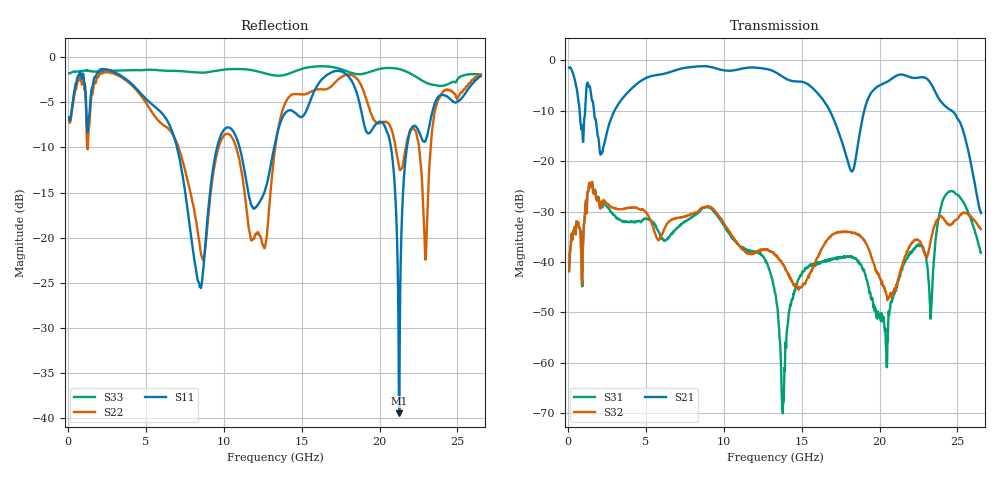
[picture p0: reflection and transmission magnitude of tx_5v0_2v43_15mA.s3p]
!Agilent Technologies,N5245A,MY52101206,A.09.80.15
!Agilent N5245A: A.09.80.15
!Date: Tuesday, December 04, 2012 09:37:30
!Correction: S11(Full 3 Port(1,2,3))
!S12(Full 3 Port(1,2,3))
!S13(Full 3 Port(1,2,3))
!S21(Full 3 Port(1,2,3))
!S22(Full 3 Port(1,2,3))
!S23(Full 3 Port(1,2,3))
!S31(Full 3 Port(1,2,3))
!S32(Full 3 Port(1,2,3))
!S33(Full 3 Port(1,2,3))
!S3P File: Measurements: <S11,S12,S13>,
!<S21,S22,S23>,
!<S31,S32,S33>:
# Hz S  dB  R 50
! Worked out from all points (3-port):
!   1001 points, 100 MHz to 26.5 GHz, reference 50 ohm
!   strongest paths, dB at 100 MHz, 6.7 GHz, 13.3 GHz, 19.9 GHz, 26.5 GHz:
!     S21: -1.4, -2.2, -2.3, -5.2, -30.3
!     S32: -41.5, -31.6, -38.5, -42.1, -33.5
!     S31: -41.8, -34.3, -46.2, -49.8, -38.2
!   lowest |S11| = -39.5 dB at 21.27 GHz (marker M1), VSWR 1.02, Z = 49 - j0.356 ohm
!   |S11| at or under -10 dB: 7.019 GHz to 9.585 GHz (2.567 GHz wide, 30.9 % of centre); 11.03 GHz to 13.25 GHz (2.22 GHz wide, 18.3 % of centre); 20.74 GHz to 21.76 GHz (1.017 GHz wide, 4.78 % of centre)
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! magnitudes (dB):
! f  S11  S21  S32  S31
! 100 MHz  -6.7  -1.4  -41.5  -41.8
! 2.186 GHz  -1.3  -18.4  -28.0  -28.3
! 8.469 GHz  -25.5  -1.2  -29.6  -29.9
! 13.3 GHz  -9.6  -2.3  -38.5  -46.2
! 13.8 GHz  -6.6  -3.3  -40.5  -70.0
! 15.25 GHz  -6.1  -4.5  -44.2  -41.4
! 18.24 GHz  -2.7  -22.0  -34.2  -38.9
! 21.27 GHz  -39.5  -2.9  -42.7  -42.9
! 21.99 GHz  -8.2  -3.4  -36.6  -38.4
! 26.5 GHz  -2.1  -30.3  -33.5  -38.2
